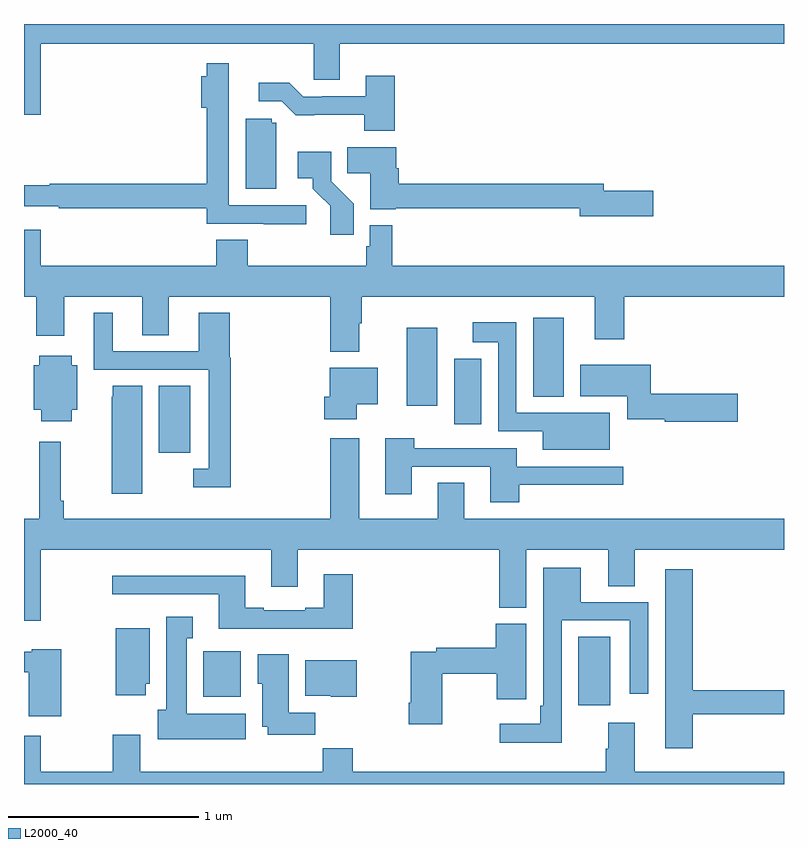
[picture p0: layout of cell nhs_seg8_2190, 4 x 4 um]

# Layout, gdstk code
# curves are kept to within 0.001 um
import gdstk
lib = gdstk.Library(unit=1e-6, precision=1e-09)
def R(c, l, rs):  # rectangles x0, y0, x1, y1
    for r in rs: c.add(gdstk.rectangle(r[:2], r[2:], *l))
def P(c, l, *ps):  # polygons
    for p in ps: c.add(gdstk.Polygon(p, *l))
L2000_40 = (2000, 40)

nhs_seg8_2190 = lib.new_cell('nhs_seg8_2190')
R(nhs_seg8_2190, L2000_40, [(251.918,1150.314,252.085,1150.676), (249.944,1150.358,250.141,1150.6), (249.71,1151.643,249.874,1151.996), (251.264,1151.793,251.407,1152.139), (251.015,1151.892,251.176,1152.301), (251.681,1151.939,251.842,1152.355)])
P(nhs_seg8_2190, L2000_40, [(249.088,1153.796),(250.524,1153.796),(250.524,1153.606),(250.663,1153.606),(250.663,1153.796),(253,1153.796),(253,1153.9),(249,1153.9),(249,1153.422),(249.088,1153.422)],
  [(250.486,1152.945),(250.077,1152.945),(250.077,1153.47),(250.078,1153.47),(250.078,1153.693),(249.961,1153.693),(249.961,1153.624),(249.932,1153.624),(249.932,1153.459),(249.961,1153.459),(249.961,1153.058),(249.136,1153.058),(249.136,1153.051),(249,1153.051),(249,1152.942),(249.184,1152.942),(249.184,1152.93),(249.961,1152.93),(249.961,1152.849),(250.261,1152.849),(250.261,1152.847),(250.486,1152.847)],
  [(250.952,1153.627),(250.799,1153.627),(250.799,1153.521),(250.57,1153.521),(250.57,1153.518),(250.47,1153.518),(250.397,1153.591),(250.236,1153.591),(250.236,1153.494),(250.356,1153.494),(250.429,1153.421),(250.792,1153.422),(250.792,1153.337),(250.952,1153.337)],
  [(250.327,1153.38),(250.305,1153.38),(250.305,1153.401),(250.166,1153.401),(250.166,1153.032),(250.327,1153.032)],
  [(252.313,1153.022),(252.052,1153.022),(252.052,1153.058),(250.973,1153.058),(250.973,1153.142),(250.96,1153.142),(250.96,1153.252),(250.702,1153.252),(250.702,1153.114),(250.823,1153.114),(250.823,1152.926),(250.956,1152.926),(250.956,1152.93),(251.924,1152.93),(251.924,1152.887),(252.313,1152.887)],
  [(250.736,1152.954),(250.617,1153.073),(250.617,1153.228),(250.44,1153.228),(250.44,1153.088),(250.52,1153.088),(250.52,1153.033),(250.548,1153.005),(250.611,1152.943),(250.611,1152.792),(250.736,1152.792)],
  [(250.765,1152.326),(250.778,1152.326),(250.778,1152.464),(252.005,1152.464),(252.005,1152.24),(252.158,1152.24),(252.158,1152.464),(253,1152.464),(253,1152.628),(250.937,1152.628),(250.937,1152.841),(250.821,1152.841),(250.821,1152.729),(250.801,1152.729),(250.801,1152.628),(250.178,1152.628),(250.178,1152.764),(250.013,1152.764),(250.013,1152.628),(249.088,1152.628),(249.088,1152.817),(249,1152.817),(249,1152.464),(249.064,1152.464),(249.064,1152.258),(249.211,1152.258),(249.211,1152.464),(249.623,1152.464),(249.623,1152.262),(249.763,1152.262),(249.763,1152.464),(250.613,1152.464),(250.613,1152.176),(250.765,1152.176)],
  [(250.088,1152.144),(250.082,1152.144),(250.082,1152.379),(249.92,1152.379),(249.92,1152.177),(249.466,1152.177),(249.466,1152.379),(249.368,1152.379),(249.368,1152.081),(249.972,1152.081),(249.972,1151.559),(249.891,1151.559),(249.891,1151.462),(250.088,1151.462)],
  [(252.082,1151.854),(251.838,1151.854),(251.838,1151.853),(251.592,1151.853),(251.592,1152.331),(251.361,1152.331),(251.361,1152.224),(251.496,1152.224),(251.496,1151.757),(251.729,1151.757),(251.729,1151.66),(252.082,1151.66)],
  [(249.25,1151.87),(249.28,1151.87),(249.28,1152.103),(249.25,1152.103),(249.25,1152.154),(249.08,1152.154),(249.08,1152.103),(249.05,1152.103),(249.05,1151.87),(249.092,1151.87),(249.092,1151.81),(249.25,1151.81)],
  [(252.757,1151.954),(252.299,1151.954),(252.299,1152.106),(251.927,1152.106),(251.927,1151.942),(252.176,1151.942),(252.176,1151.819),(252.372,1151.819),(252.372,1151.807),(252.757,1151.807)],
  [(250.75,1151.9),(250.861,1151.9),(250.861,1152.091),(250.61,1152.091),(250.61,1151.937),(250.58,1151.937),(250.58,1151.819),(250.75,1151.819)],
  [(249.622,1151.996),(249.467,1151.996),(249.467,1151.937),(249.461,1151.937),(249.461,1151.427),(249.622,1151.427)],
  [(251.606,1151.474),(252.154,1151.474),(252.154,1151.571),(251.593,1151.571),(251.593,1151.667),(251.054,1151.667),(251.054,1151.719),(250.901,1151.719),(250.901,1151.424),(251.041,1151.424),(251.041,1151.571),(251.453,1151.571),(251.453,1151.382),(251.606,1151.382)],
  [(249.088,1151.132),(250.301,1151.132),(250.301,1150.938),(250.441,1150.938),(250.441,1151.132),(251.501,1151.132),(251.501,1150.828),(251.644,1150.828),(251.644,1151.132),(252.074,1151.132),(252.074,1150.942),(252.214,1150.942),(252.214,1151.132),(253,1151.132),(253,1151.296),(251.317,1151.296),(251.317,1151.486),(251.177,1151.486),(251.177,1151.296),(250.765,1151.296),(250.765,1151.719),(250.613,1151.719),(250.613,1151.296),(249.209,1151.296),(249.209,1151.392),(249.194,1151.392),(249.194,1151.701),(249.081,1151.701),(249.081,1151.296),(249,1151.296),(249,1150.758),(249.088,1150.758)],
  [(251.829,1150.761),(252.189,1150.761),(252.189,1150.374),(252.285,1150.374),(252.285,1150.857),(251.929,1150.857),(251.929,1151.038),(251.733,1151.038),(251.733,1150.312),(251.717,1150.312),(251.717,1150.216),(251.505,1150.216),(251.505,1150.118),(251.829,1150.118)],
  [(252.521,1150.266),(253,1150.266),(253,1150.394),(252.521,1150.394),(252.521,1151.029),(252.374,1151.029),(252.374,1150.089),(252.521,1150.089)],
  [(250.73,1151.005),(250.577,1151.005),(250.577,1150.828),(250.481,1150.828),(250.481,1150.815),(250.261,1150.815),(250.261,1150.828),(250.165,1150.828),(250.165,1150.996),(249.465,1150.996),(249.465,1150.899),(250.025,1150.899),(250.025,1150.718),(250.73,1150.718)],
  [(250.168,1150.27),(249.856,1150.27),(249.856,1150.667),(249.889,1150.667),(249.889,1150.78),(249.749,1150.78),(249.749,1150.29),(249.704,1150.29),(249.704,1150.136),(250.168,1150.136)],
  [(251.202,1150.48),(251.488,1150.48),(251.488,1150.347),(251.643,1150.347),(251.643,1150.459),(251.644,1150.459),(251.644,1150.743),(251.483,1150.743),(251.483,1150.616),(251.17,1150.616),(251.17,1150.596),(251.036,1150.596),(251.036,1150.327),(251.024,1150.327),(251.024,1150.215),(251.202,1150.215)],
  [(249.64,1150.428),(249.661,1150.428),(249.661,1150.72),(249.482,1150.72),(249.482,1150.368),(249.64,1150.368)],
  [(249.196,1150.609),(249.042,1150.609),(249.042,1150.597),(249,1150.597),(249,1150.488),(249.026,1150.488),(249.026,1150.257),(249.196,1150.257)],
  [(250.532,1150.276),(250.393,1150.276),(250.393,1150.582),(250.229,1150.582),(250.229,1150.428),(250.253,1150.428),(250.253,1150.202),(250.283,1150.202),(250.283,1150.158),(250.532,1150.158)],
  [(250.75,1150.552),(250.481,1150.552),(250.481,1150.364),(250.614,1150.364),(250.614,1150.358),(250.75,1150.358)],
  [(253,1149.964),(252.214,1149.964),(252.214,1150.222),(252.074,1150.222),(252.074,1150.085),(252.062,1150.085),(252.062,1149.964),(250.73,1149.964),(250.73,1150.088),(250.573,1150.088),(250.573,1149.964),(249.613,1149.964),(249.613,1150.159),(249.466,1150.159),(249.466,1149.964),(249.088,1149.964),(249.088,1150.153),(249,1150.153),(249,1149.9),(253,1149.9)])

lib.write_gds('nhs_seg8_2190.gds')
